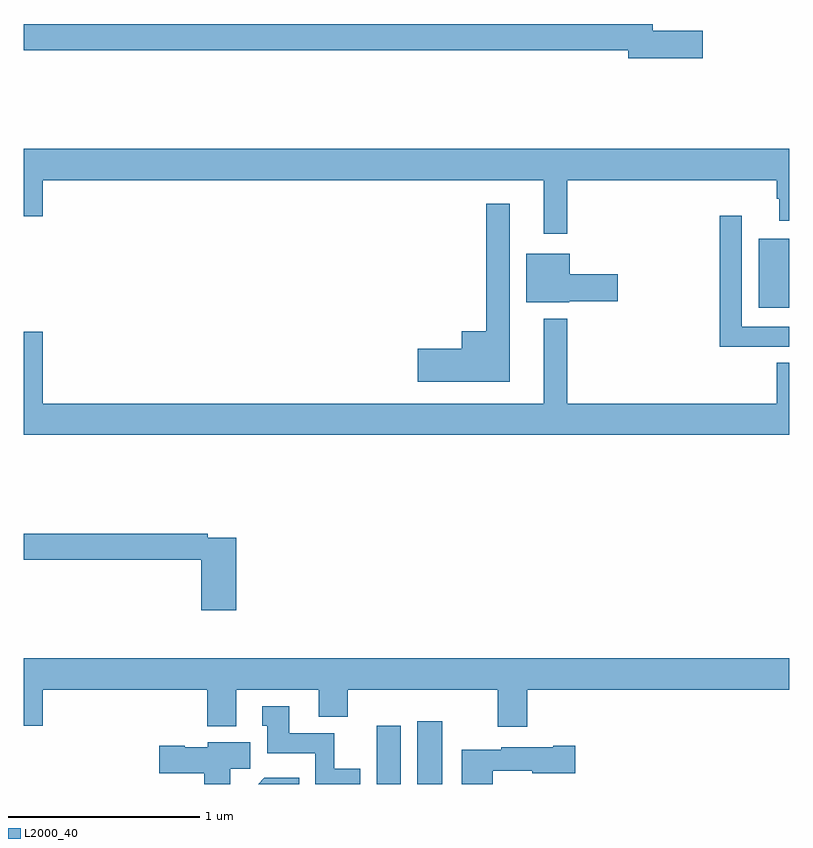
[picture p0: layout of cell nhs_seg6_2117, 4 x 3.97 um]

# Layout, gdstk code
import gdstk
lib = gdstk.Library(unit=1e-6, precision=1e-09)
def R(c, l, rs):  # rectangles x0, y0, x1, y1
    for r in rs: c.add(gdstk.rectangle(r[:2], r[2:], *l))
def P(c, l, *ps):  # polygons
    for p in ps: c.add(gdstk.Polygon(p, *l))
L2000_40 = (2000, 40)

nhs_seg6_2117 = lib.new_cell('nhs_seg6_2117')
R(nhs_seg6_2117, L2000_40, [(238.844,957.5,238.969,957.805), (239.057,957.5,239.188,957.829), (240.842,959.99,241,960.349)])
P(nhs_seg6_2117, L2000_40, [(240.547,961.436),(240.286,961.436),(240.286,961.472),(237,961.472),(237,961.336),(240.158,961.336),(240.158,961.294),(240.547,961.294)],
  [(239.839,960.656),(240.935,960.656),(240.935,960.558),(240.947,960.558),(240.947,960.444),(241,960.444),(241,960.82),(237,960.82),(237,960.468),(237.1,960.468),(237.1,960.656),(239.717,960.656),(239.717,960.375),(239.839,960.375)],
  [(239.539,960.532),(239.418,960.532),(239.418,959.866),(239.288,959.866),(239.288,959.774),(239.058,959.774),(239.058,959.603),(239.539,959.603)],
  [(240.76,959.786),(241,959.786),(241,959.89),(240.753,959.89),(240.753,960.469),(240.637,960.469),(240.637,959.784),(240.76,959.784)],
  [(239.85,960.023),(240.103,960.023),(240.103,960.165),(239.854,960.165),(239.854,960.271),(239.627,960.271),(239.627,960.017),(239.85,960.017)],
  [(241,959.701),(240.935,959.701),(240.935,959.488),(239.839,959.488),(239.839,959.932),(239.717,959.932),(239.717,959.488),(237.1,959.488),(237.1,959.863),(237,959.863),(237,959.324),(241,959.324)],
  [(238.109,958.788),(237.962,958.788),(237.962,958.808),(237,958.808),(237,958.672),(237.926,958.672),(237.926,958.407),(238.109,958.407)],
  [(239.63,957.992),(241,957.992),(241,958.156),(237,958.156),(237,957.804),(237.1,957.804),(237.1,957.992),(237.959,957.992),(237.959,957.803),(238.111,957.803),(238.111,957.992),(238.541,957.992),(238.541,957.851),(238.694,957.851),(238.694,957.992),(239.477,957.992),(239.477,957.798),(239.63,957.798)],
  [(238.759,957.58),(238.623,957.58),(238.623,957.766),(238.387,957.766),(238.387,957.907),(238.247,957.907),(238.247,957.804),(238.271,957.804),(238.271,957.662),(238.524,957.662),(238.524,957.5),(238.759,957.5)],
  [(238.078,957.58),(238.183,957.58),(238.183,957.718),(237.96,957.718),(237.96,957.691),(237.84,957.691),(237.84,957.699),(237.708,957.699),(237.708,957.557),(237.944,957.557),(237.944,957.5),(238.078,957.5)],
  [(239.45,957.569),(239.658,957.569),(239.658,957.557),(239.881,957.557),(239.881,957.699),(239.768,957.699),(239.768,957.691),(239.496,957.691),(239.496,957.679),(239.288,957.679),(239.288,957.5),(239.45,957.5)],
  [(238.439,957.532),(238.256,957.532),(238.224,957.5),(238.439,957.5)])

lib.write_gds('nhs_seg6_2117.gds')
